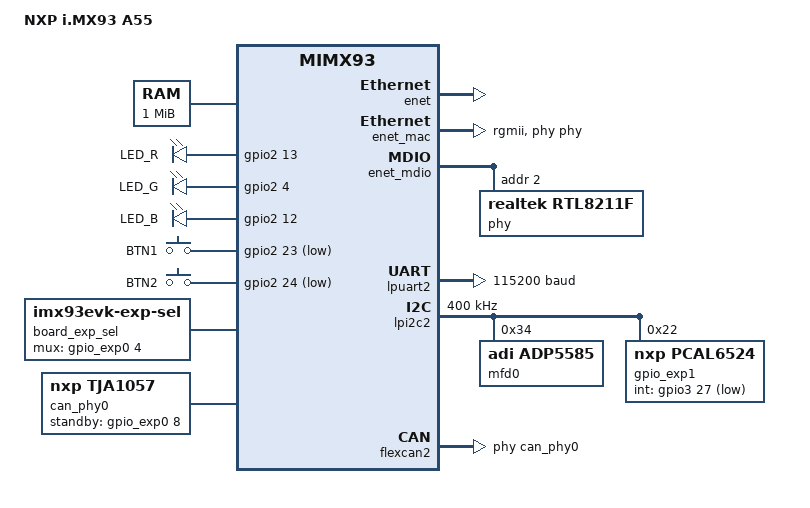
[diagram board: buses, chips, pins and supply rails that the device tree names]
/*
 * Copyright 2022,2024 NXP
 *
 * SPDX-License-Identifier: Apache-2.0
 */

/dts-v1/;

#include <nxp/nxp_mimx93_a55.dtsi>
#include "imx93_evk-pinctrl.dtsi"
#include <zephyr/dt-bindings/input/input-event-codes.h>

/ {
	model = "NXP i.MX93 A55";
	compatible = "fsl,mimx93";

	chosen {
		zephyr,console = &lpuart2;
		zephyr,shell-uart = &lpuart2;
		/* sram node actually locates at DDR DRAM */
		zephyr,sram = &dram;
		zephyr,canbus = &flexcan2;
	};

	cpus {
		cpu@0 {
			status = "disabled";
		};
	};

	dram: memory@d0000000 {
		reg = <0xd0000000 DT_SIZE_M(1)>;
	};

	aliases {
		led0 = &led_r;
		led1 = &led_g;
		sw0 = &btn_1;
	};

	leds {
		compatible = "gpio-leds";
		led_r: led_r {
			label = "LED_R";
			gpios = <&gpio2 13 GPIO_ACTIVE_HIGH>;
		};
		led_g: led_g {
			label = "LED_G";
			gpios = <&gpio2 4 GPIO_ACTIVE_HIGH>;
		};
		led_b: led_b {
			label = "LED_B";
			gpios = <&gpio2 12 GPIO_ACTIVE_HIGH>;
		};
	};

	keys {
		compatible = "gpio-keys";

		btn_1: btn_1{
			label = "BTN1";
			gpios = <&gpio2 23 GPIO_ACTIVE_LOW>;
			zephyr,code = <INPUT_KEY_0>;
		};

		btn_2: btn_2{
			label = "BTN2";
			gpios = <&gpio2 24 GPIO_ACTIVE_LOW>;
			zephyr,code = <INPUT_KEY_1>;
		};
	};

	board_exp_sel: board-exp-sel {
		/*
		 * Kconfig BOARD_MIMX93_EVK_A55_EXP_SEL_INIT must be
		 * enabled to configure it during init.
		 */
		compatible = "imx93evk-exp-sel";
		mux-gpios = <&gpio_exp0 4 GPIO_ACTIVE_HIGH>;
		mux = "A";
	};

	can_phy0: can-phy0 {
		compatible = "nxp,tja1057", "can-transceiver-gpio";
		standby-gpios = <&gpio_exp0 8 GPIO_ACTIVE_HIGH>;
		max-bitrate = <8000000>;
		#phy-cells = <0>;
		status = "okay";
	};
};

&enet {
	status = "okay";
};

&enet_mac {
	pinctrl-0 = <&pinmux_enet>;
	pinctrl-names = "default";
	phy-handle = <&phy>;
	zephyr,random-mac-address;
	phy-connection-type = "rgmii";
	status = "okay";
};

&enet_mdio {
	pinctrl-0 = <&pinmux_mdio>;
	pinctrl-names = "default";
	status = "okay";
	phy: phy@2 {
		compatible = "realtek,rtl8211f";
		reg = <2>;
		status = "okay";
	};
};

&lpuart1 {
	status = "disabled";
	current-speed = <115200>;
	/* clocks = <&ccm IMX_CCM_UART4_CLK 0x6c 24>; */
	pinctrl-0 = <&uart1_default>;
	pinctrl-names = "default";
};

&lpuart2 {
	status = "okay";
	current-speed = <115200>;
	/* clocks = <&ccm IMX_CCM_UART4_CLK 0x6c 24>; */
	pinctrl-0 = <&uart2_default>;
	pinctrl-names = "default";
};


&lpi2c1 {
	status = "disabled";
	clock-frequency = <I2C_BITRATE_FAST>;
	pinctrl-0 = <&i2c1_default>;
	pinctrl-names = "default";
};

&lpi2c2 {
	status = "okay";
	clock-frequency = <I2C_BITRATE_FAST>;
	pinctrl-0 = <&i2c2_default>;
	pinctrl-names = "default";

	mfd0:adp5585@34 {
		compatible = "adi,adp5585";
		reg = <0x34>;
		status = "okay";

		gpio_exp0: adp5585_gpio {
			compatible = "adi,adp5585-gpio";
			gpio-controller;
			#gpio-cells = <2>;
			ngpios = <13>;
			gpio-reserved-ranges = <5 3>;
			status = "okay";
			/*
			 * This device has non-contiguous gpio range:
			 *   GPIO Pin R0~R4 are gpio0~4
			 *   GPIO Pin C0~C4 are gpio8~12
			 */
		};
	};

	gpio_exp1: pcal6524@22 {
		compatible = "nxp,pcal6524";
		reg = <0x22>;
		gpio-controller;
		#gpio-cells = <2>;
		ngpios = <24>;
		int-gpios = <&gpio3 27 (GPIO_ACTIVE_LOW|GPIO_PULL_UP)>;
		status = "okay";
	};
};

&lpspi3 {
	status = "disabled";
	clock-frequency = <1000000>;
	pinctrl-0 = <&spi3_default>;
	pinctrl-names = "default";
};

&gpio1{
	status = "okay";
};

&gpio2{
	status = "okay";
};

&gpio3{
	status = "okay";
};

&gpio4{
	status = "okay";
};

&flexcan2 {
	pinctrl-0 = <&flexcan2_default>;
	pinctrl-names = "default";
	phys = <&can_phy0>;
	status = "okay";
};
